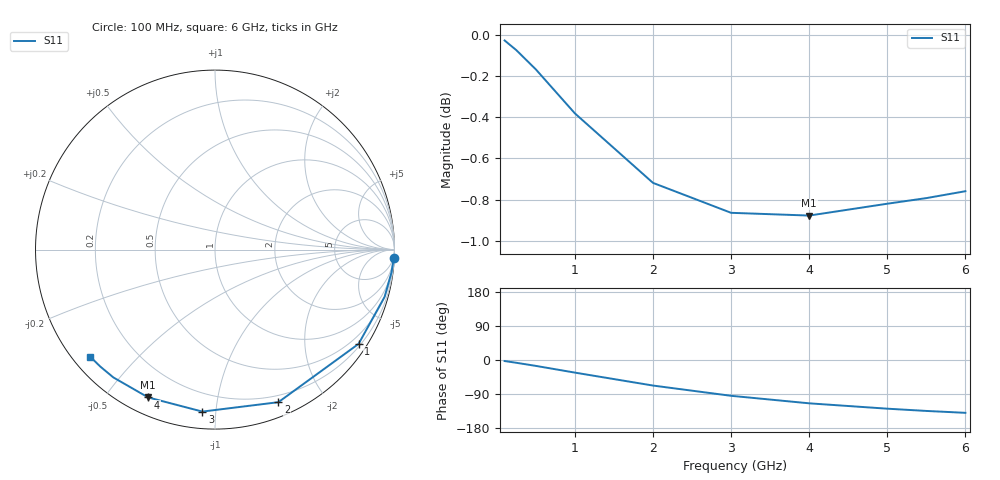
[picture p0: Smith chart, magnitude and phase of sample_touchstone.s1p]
! LitePerm sample S11 dataset
# Hz S RI R 50
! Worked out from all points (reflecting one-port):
!   10 points, 100 MHz to 6 GHz, reference 50 ohm
!   lowest |S11| = -0.9 dB at 4 GHz (marker M1), VSWR 19.81, Z = 3.57 - j32.1 ohm
!   phase of S11 starts at -3 deg and turns -137 deg over the sweep
!   S11 on the Smith chart (normalised r, x): 100 MHz: 3, -42; 1 GHz: 0.27, -3.33; 2 GHz: 0.13, -1.49; 3 GHz: 0.09, -0.92; 4 GHz: 0.07, -0.64; 6 GHz: 0.05, -0.37
1e8  0.9958 -0.0476
2.5e8  0.9834 -0.1264
5e8  0.945 -0.263
1e9  0.8001 -0.5252
2e9  0.3532 -0.8501
3e9  -0.0705 -0.9025
4e9  -0.3724 -0.8236
5e9  -0.5662 -0.7122
5.5e9  -0.6388 -0.652
6e9  -0.696 -0.596
